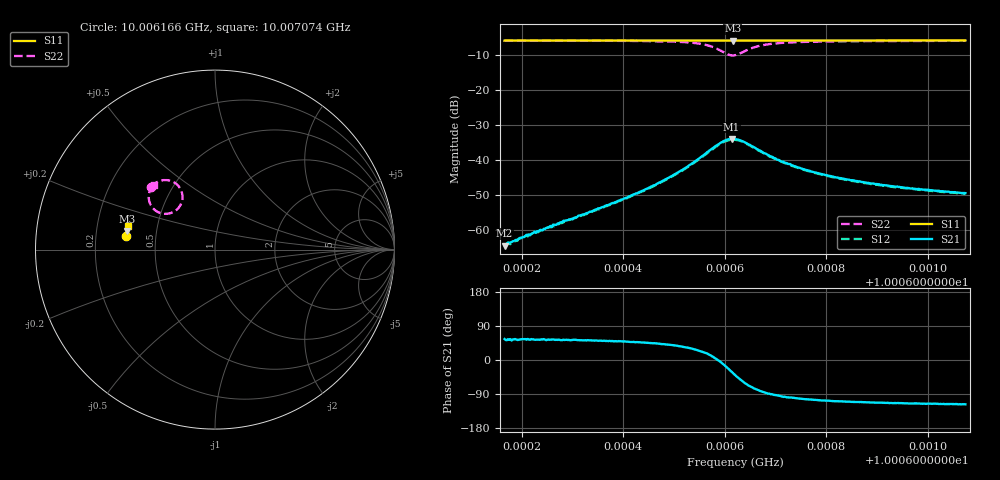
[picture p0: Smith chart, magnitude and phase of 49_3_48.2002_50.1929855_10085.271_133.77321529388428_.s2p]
#  HZ  S  RI  R  50.00
! Rohde & Schwarz Vector Network Analyzer
! Rohde-Schwarz,ZNB20-2Port,1311601062101988,3.16
! Created: UTC 3/20/2024, 11:38:12 AM
! freq[Hz]  re:S11  im:S11  re:S21  im:S21  re:S12  im:S12  re:S22  im:S22
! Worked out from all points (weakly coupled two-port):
!   401 points, 10.006166 GHz to 10.007074 GHz, reference 50 ohm
!   highest |S21| = -34.04 dB at 10.006613 GHz (marker M1); lowest = -64.5 dB at 10.006166 GHz (marker M2)
!   lowest |S11| = -6.0 dB at 10.006616 GHz (marker M3), VSWR 3.00, Z = 16.8 + j4.54 ohm
!   |S11| at or under -10 dB: nowhere
!   |S22| runs from -10.2 to -6.0 dB; largest |S21 - S12| = 0.0014
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1.00061661e10  -0.4965 0.0731  0.000339 0.000491  0.000339 0.000498  -0.3568 0.3491
1.00061797e10  -0.4965 0.074  0.000419 0.000526  0.000346 0.000544  -0.3559 0.3504
1.00062092e10  -0.496 0.076  0.000502 0.000685  0.000443 0.000701  -0.3535 0.3527
1.00063182e10  -0.4952 0.083  0.001 0.00129  0.000926 0.00131  -0.3425 0.3627
1.00064044e10  -0.4943 0.0887  0.00188 0.00214  0.00172 0.0022  -0.3284 0.3728
1.00064703e10  -0.4935 0.093  0.00344 0.00323  0.00322 0.00326  -0.3083 0.3822
1.00065202e10  -0.4927 0.0965  0.0062 0.0042  0.00583 0.00436  -0.2777 0.3878
1.00065634e10  -0.4917 0.0993  0.0119 0.00391  0.0114 0.00418  -0.2235 0.3721
1.00065792e10  -0.4913 0.1002  0.0151 0.00159  0.0146 0.00233  -0.1975 0.3464
1.00065951e10  -0.4907 0.1009  0.0178 -0.00286  0.0174 -0.0018  -0.1813 0.2989
1.00066133e10  -0.4903 0.1012  0.0171 -0.0102  0.0171 -0.00895  -0.2036 0.232
1.00066156e10  -0.4902 0.1013  0.0165 -0.011  0.0167 -0.00984  -0.2102 0.2251
1.00066201e10  -0.4902 0.1014  0.0152 -0.0125  0.0155 -0.0114  -0.2251 0.2137
1.00066383e10  -0.4907 0.102  0.00913 -0.0154  0.00964 -0.0147  -0.289 0.2001
1.00066542e10  -0.491 0.103  0.00475 -0.0148  0.00544 -0.0143  -0.3295 0.2162
1.00066723e10  -0.4911 0.1042  0.00166 -0.013  0.00219 -0.0127  -0.3538 0.2413
1.00067086e10  -0.491 0.1069  -0.000806 -0.00967  -0.000269 -0.0096  -0.3684 0.2801
1.00067359e10  -0.4909 0.1087  -0.00135 -0.00804  -0.00104 -0.00794  -0.3693 0.2988
1.00067722e10  -0.4905 0.1113  -0.00171 -0.00653  -0.00136 -0.00649  -0.3668 0.3152
1.00068449e10  -0.4896 0.116  -0.00177 -0.00488  -0.00151 -0.00484  -0.3601 0.3348
1.00069243e10  -0.4885 0.121  -0.0017 -0.00389  -0.00149 -0.0039  -0.3533 0.3472
1.00070741e10  -0.4864 0.1306  -0.00151 -0.00298  -0.00134 -0.00295  -0.3424 0.3622
